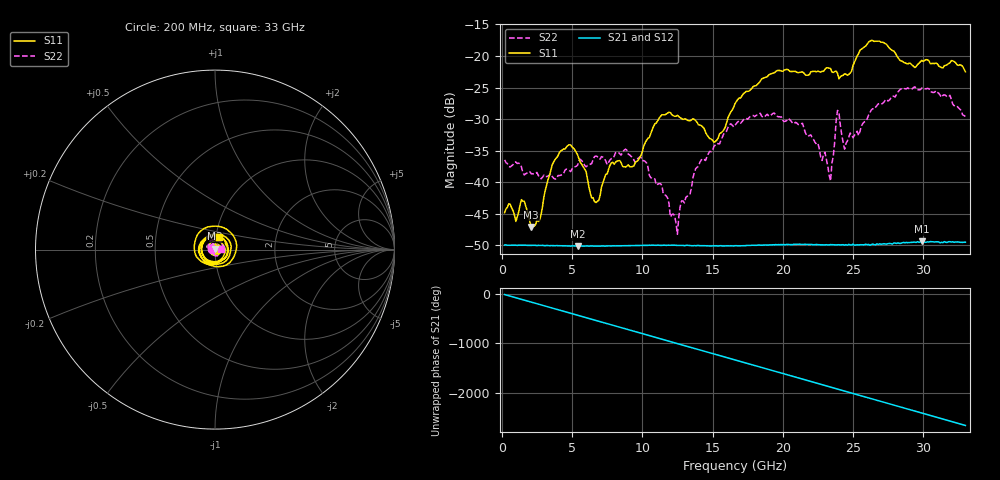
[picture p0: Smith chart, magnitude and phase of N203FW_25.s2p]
# GHZ S RI R 50
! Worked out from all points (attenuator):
!   329 points, 200 MHz to 33 GHz, reference 50 ohm
!   highest |S21| = -49.38 dB at 29.9 GHz (marker M1); lowest = -50.1 dB at 5.4 GHz (marker M2)
!   lowest |S11| = -47.1 dB at 2.1 GHz (marker M3), VSWR 1.01, Z = 49.9 + j0.428 ohm
!   |S11| at or under -10 dB: start of sweep to end of sweep
!   |S22| runs from -48.2 to -24.9 dB; largest |S21 - S12| = 8.8e-05
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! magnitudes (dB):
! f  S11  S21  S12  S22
! 200 MHz  -44.8  -50.0  -49.9  -36.5
! 1.4 GHz  -42.8  -50.0  -50.0  -37.6
! 2.1 GHz  -47.1  -50.0  -50.0  -38.7
! 4.1 GHz  -35.3  -50.1  -50.1  -38.9
! 5.4 GHz  -35.7  -50.1  -50.1  -37.3
! 5.7 GHz  -37.2  -50.1  -50.1  -36.6
! 6.7 GHz  -43.2  -50.1  -50.1  -35.8
! 7.8 GHz  -36.9  -50.1  -50.1  -36.3
! 8.8 GHz  -37.6  -50.0  -50.0  -34.8
! 11.2 GHz  -29.9  -50.0  -50.0  -40.2
! 12.5 GHz  -29.4  -50.0  -50.0  -48.2
! 12.8 GHz  -29.9  -50.0  -50.0  -43.0
! 15.1 GHz  -33.7  -50.1  -50.1  -34.3
! 16.6 GHz  -27.5  -50.0  -50.1  -30.9
! 19.4 GHz  -22.7  -49.9  -49.9  -29.0
! 22.1 GHz  -22.4  -49.9  -49.8  -33.0
! 23.4 GHz  -22.0  -49.9  -49.9  -39.8
! 23.9 GHz  -22.7  -49.9  -49.9  -28.6
! 24.4 GHz  -22.8  -50.0  -49.9  -34.7
! 27.6 GHz  -18.8  -49.7  -49.7  -27.0
! 29.9 GHz  -20.7  -49.4  -49.5  -25.1
! 33 GHz  -22.5  -49.5  -49.5  -29.6
